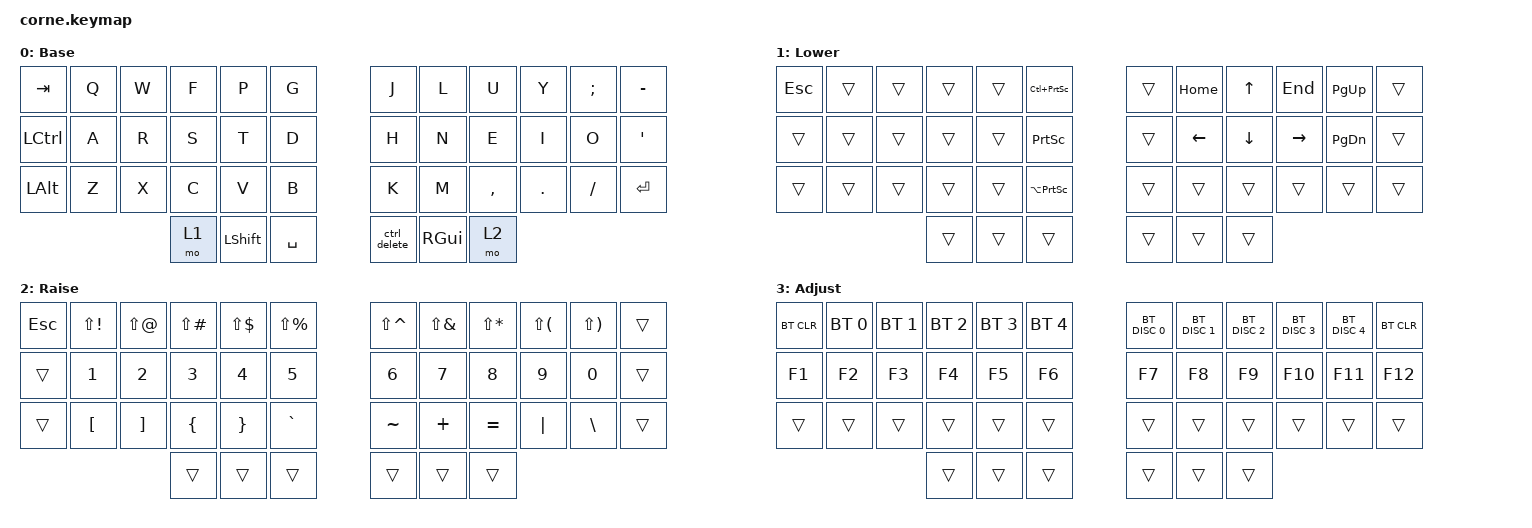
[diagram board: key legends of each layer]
/*
 * Copyright (c) 2020 The ZMK Contributors
 *
 * SPDX-License-Identifier: MIT
 */

#include <behaviors.dtsi>
#include <dt-bindings/zmk/bt.h>
#include <dt-bindings/zmk/keys.h>

/ {
    conditional_layers {
        compatible = "zmk,conditional-layers";

        tri_layer {
            if-layers = <1 2>;
            then-layer = <3>;
        };
    };

    combos { compatible = "zmk,combos"; };

    behaviors {
        ctrl_delete: ctrl_delete {
            compatible = "zmk,behavior-mod-morph";
            label = "CTRL_DELETE";
            bindings = <&kp BACKSPACE>, <&kp DEL>;

            #binding-cells = <0>;
            mods = <(MOD_LCTL)>;
        };
    };

    keymap {
        compatible = "zmk,keymap";

        default_layer {
            // -----------------------------------------------------------------------------------------
            // |  TAB |  Q  |  W  |  F  |  P  |  G  |           |  J  |  L   |  U  |  Y  |  ;  |   -  |
            // | CTRL |  A  |  R  |  S  |  T  |  D  |           |  H  |  N   |  E  |  I  |  O  |  '   |
            // | LGUI |  Z  |  X  |  C  |  V  |  B  |           |  K  |  M   |  ,  |  .  |  /  | ESC  |
            //                    | LWR |LSHFT| SPC |           | DEL | ENTR | RSE |

            display-name = "Base";
            bindings = <
&kp TAB     &kp Q  &kp W  &kp F  &kp P           &kp G           &kp J         &kp L      &kp U      &kp Y    &kp SEMI  &kp MINUS
&kp LCTRL   &kp A  &kp R  &kp S  &kp T           &kp D           &kp H         &kp N      &kp E      &kp I    &kp O     &kp SQT
&kp LALT    &kp Z  &kp X  &kp C  &kp V           &kp B           &kp K         &kp M      &kp COMMA  &kp DOT  &kp FSLH  &kp ENTER
                          &mo 1  &kp LEFT_SHIFT  &kp SPACE       &ctrl_delete  &kp RIGHT_GUI  &mo 2
            >;
        };

        lower_layer {
            // -----------------------------------------------------------------------------------------
            // |      |  !  |  @  |  #  |  $  |  %  |           |  ^  |  &  |  *  |  (  |  )  |      |
            // |      |  1  |  2  |  3  |  4  |  5  |           |  6  |  7  |  8  |  9  |  0  |      |
            // | LALT |  [  |  ]  |  {  |  }  |  `  |           |  ~  |  +  |  =  |  |  |  \  |      |
            //                    |     |     |     |           |     |     |     |

            display-name = "Lower";
            bindings = <
&kp ESC  &trans  &trans  &trans  &trans  &kp LC(PRINTSCREEN)        &trans         &kp HOME       &kp UP    &kp END    &kp PAGE_UP    &trans
&trans  &trans  &trans  &trans  &trans  &kp PRINTSCREEN            &trans         &kp LEFT       &kp DOWN  &kp RIGHT  &kp PAGE_DOWN  &trans
&trans  &trans  &trans  &trans  &trans  &kp LA(PRINTSCREEN)        &trans         &trans         &trans    &trans     &trans         &trans
                                     &trans  &trans  &trans                     &trans         &trans         &trans
            >;
        };

        raise_layer {
            // -----------------------------------------------------------------------------------------
            // | LPRNT|     |     |     |     |     |           |     | HME |  UP | END | PUP |      |
            // | PRNT |     |     |     |     |     |           |     | LFT | DWN | RGT | PDWN|      |
            // | APRNT|     |     |     |     |     |           |     |     |     |     |     |      |
            //                    |     |     |     |           |     |     |     |

            display-name = "Raise";
            bindings = <
&kp ESC        &kp LS(EXCL)      &kp LS(AT)         &kp LS(POUND)   &kp LS(DLLR)     &kp LS(PRCNT)    &kp LS(CARET)  &kp LS(AMPS)  &kp LS(STAR)  &kp LS(LPAR)  &kp LS(RPAR)   &trans
&trans        &kp N1            &kp N2             &kp N3          &kp N4           &kp N5           &kp N6         &kp N7        &kp N8        &kp N9        &kp N0         &trans
&trans      &kp LEFT_BRACKET  &kp RIGHT_BRACKET  &kp LEFT_BRACE  &kp RIGHT_BRACE  &kp GRAVE        &kp TILDE      &kp PLUS      &kp EQUAL     &kp PIPE      &kp BACKSLASH  &trans
                                                   &trans          &trans           &trans           &trans         &trans        &trans
            >;
        };

        adjust_layer {
            // -----------------------------------------------------------------------------------------
            // | BTCLR| B1 | BT2 | BT3 | BT4 | BT5 |            | DC1 | DC2 | DC3 | DC4 | DC5 | BTCLR|
            // |  F1  |  F2 |  F3 |  F4 |  F5 |  F6 |           |  F7 |  F8 |  F9 | F10 | F11 |  F12 |
            // |      |     |     |     |     |     |           |     |     |     |     |     |      |
            //                    |     |     |     |           |     |     |     |

            display-name = "Adjust";
            bindings = <
&bt BT_CLR  &bt BT_SEL 0  &bt BT_SEL 1  &bt BT_SEL 2  &bt BT_SEL 3  &bt BT_SEL 4    &bt BT_DISC 0  &bt BT_DISC 1  &bt BT_DISC 2  &bt BT_DISC 3  &bt BT_DISC 4  &bt BT_CLR
&kp F1      &kp F2        &kp F3        &kp F4        &kp F5        &kp F6          &kp F7         &kp F8         &kp F9         &kp F10        &kp F11        &kp F12
&trans      &trans        &trans        &trans        &trans        &trans          &trans         &trans         &trans         &trans         &trans         &trans
                                   &trans        &trans        &trans        &trans          &trans         &trans
            >;
        };

        extra_1 { status = "reserved"; };

        extra_2 { status = "reserved"; };

        extra_3 { status = "reserved"; };
    };
};
